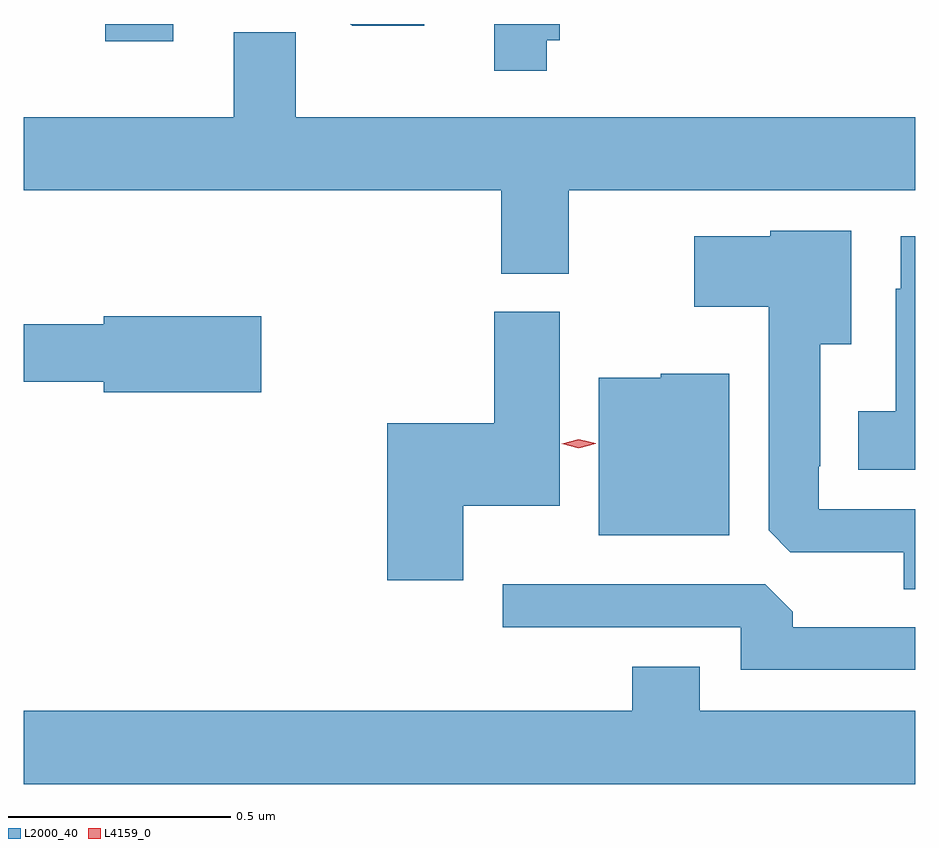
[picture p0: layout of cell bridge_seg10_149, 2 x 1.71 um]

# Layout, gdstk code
import gdstk
lib = gdstk.Library(unit=1e-6, precision=1e-09)
def R(c, l, rs):  # rectangles x0, y0, x1, y1
    for r in rs: c.add(gdstk.rectangle(r[:2], r[2:], *l))
def P(c, l, *ps):  # polygons
    for p in ps: c.add(gdstk.Polygon(p, *l))
L2000_40 = (2000, 40)
L4159_0 = (4159, 0)

bridge_seg10_149 = lib.new_cell('bridge_seg10_149')
R(bridge_seg10_149, L2000_40, [(323.429,1287.33,323.581,1287.369)])
P(bridge_seg10_149, L2000_40, [(324.419,1287.332),(324.449,1287.332),(324.449,1287.369),(324.302,1287.369),(324.302,1287.264),(324.419,1287.264)],
  [(324.145,1287.369),(323.979,1287.369),(323.983,1287.365),(324.145,1287.365)],
  [(324.469,1286.996),(325.246,1286.996),(325.246,1287.16),(323.856,1287.16),(323.856,1287.35),(323.717,1287.35),(323.717,1287.16),(323.246,1287.16),(323.246,1286.996),(324.317,1286.996),(324.317,1286.809),(324.469,1286.809)],
  [(325.246,1286.28),(325.029,1286.28),(325.029,1286.377),(325.033,1286.377),(325.033,1286.651),(325.102,1286.651),(325.102,1286.905),(324.921,1286.905),(324.921,1286.893),(324.75,1286.893),(324.75,1286.735),(324.917,1286.735),(324.917,1286.233),(324.966,1286.184),(325.22,1286.184),(325.22,1286.101),(325.246,1286.101)],
  [(325.246,1286.893),(325.214,1286.893),(325.214,1286.775),(325.202,1286.775),(325.202,1286.5),(325.118,1286.5),(325.118,1286.369),(325.246,1286.369)],
  [(324.232,1286.288),(324.448,1286.288),(324.448,1286.724),(324.302,1286.724),(324.302,1286.473),(324.062,1286.473),(324.062,1286.121),(324.232,1286.121)],
  [(323.779,1286.713),(323.426,1286.713),(323.426,1286.695),(323.246,1286.695),(323.246,1286.566),(323.426,1286.566),(323.426,1286.543),(323.779,1286.543)],
  [(324.829,1286.584),(324.675,1286.584),(324.675,1286.575),(324.536,1286.575),(324.536,1286.222),(324.829,1286.222)],
  [(325.246,1286.016),(324.971,1286.016),(324.971,1286.05),(324.909,1286.112),(324.321,1286.112),(324.321,1286.016),(324.855,1286.016),(324.855,1285.92),(325.246,1285.92)],
  [(325.246,1285.828),(324.763,1285.828),(324.763,1285.927),(324.611,1285.927),(324.611,1285.828),(323.246,1285.828),(323.246,1285.664),(325.246,1285.664)])
P(bridge_seg10_149, L4159_0, [(324.491,1286.417),(324.453,1286.427),(324.453,1286.427),(324.453,1286.427),(324.491,1286.437),(324.529,1286.428),(324.529,1286.428),(324.529,1286.427)])

lib.write_gds('bridge_seg10_149.gds')
